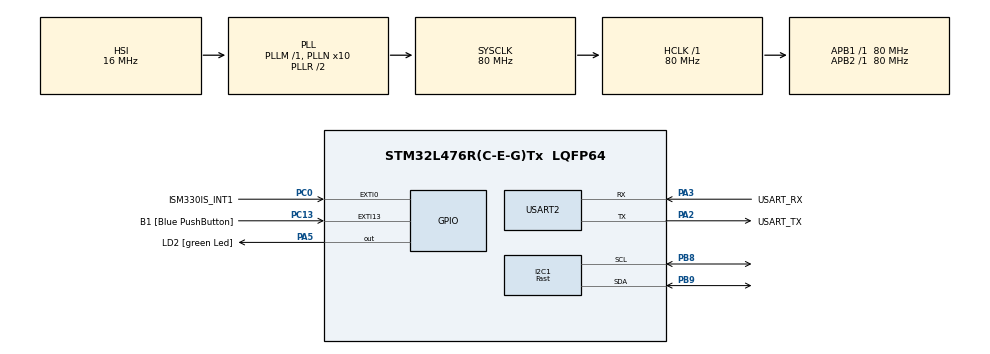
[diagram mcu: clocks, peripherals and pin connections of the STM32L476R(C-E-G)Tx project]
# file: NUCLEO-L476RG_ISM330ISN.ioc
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I2C1.I2C_Speed_Mode=I2C_Fast
I2C1.Timing=0x00702991
Mcu.Family=STM32L4
Mcu.Name=STM32L476R(C-E-G)Tx
Mcu.Package=LQFP64
NVIC.EXTI0_IRQn=true\:0\:0\:false\:false\:true\:true\:true\:true
NVIC.PriorityGroup=NVIC_PRIORITYGROUP_4
PA2.GPIO_Label=USART_TX
PA2.GPIO_Mode=GPIO_MODE_AF_PP
PA2.GPIO_PuPd=GPIO_NOPULL
PA2.GPIO_Speed=GPIO_SPEED_FREQ_VERY_HIGH
PA2.Mode=Asynchronous
PA2.Signal=USART2_TX
PA3.GPIO_Label=USART_RX
PA3.GPIO_Mode=GPIO_MODE_AF_PP
PA3.GPIO_PuPd=GPIO_NOPULL
PA3.GPIO_Speed=GPIO_SPEED_FREQ_VERY_HIGH
PA3.Mode=Asynchronous
PA3.Signal=USART2_RX
PA5.GPIO_Label=LD2 [green Led]
PA5.GPIO_ModeDefaultOutputPP=GPIO_MODE_OUTPUT_PP
PA5.GPIO_PuPd=GPIO_NOPULL
PA5.GPIO_Speed=GPIO_SPEED_FREQ_LOW
PA5.Signal=GPIO_Output
PB8.Mode=I2C
PB8.Signal=I2C1_SCL
PB9.Mode=I2C
PB9.Signal=I2C1_SDA
PC0.GPIO_Label=ISM330IS_INT1
PC0.Signal=GPXTI0
PC13.GPIO_Label=B1 [Blue PushButton]
PC13.GPIO_ModeDefaultEXTI=GPIO_MODE_IT_FALLING
PC13.GPIO_PuPd=GPIO_NOPULL
PC13.Signal=GPXTI13
ProjectManager.HeapSize=0x200
ProjectManager.StackSize=0x400
ProjectManager.TargetToolchain=STM32CubeIDE
RCC.ADCFreq_Value=64000000
RCC.AHBFreq_Value=80000000
RCC.APB1Freq_Value=80000000
RCC.APB1TimFreq_Value=80000000
RCC.APB2Freq_Value=80000000
RCC.APB2TimFreq_Value=80000000
RCC.CortexFreq_Value=80000000
RCC.HCLKFreq_Value=80000000
RCC.HSE_VALUE=8000000
RCC.HSI_VALUE=16000000
RCC.LSE_VALUE=32768
RCC.MSI_VALUE=4000000
RCC.PLLN=10
RCC.PLLSourceVirtual=RCC_PLLSOURCE_HSI
RCC.PREFETCH_ENABLE=1
RCC.SYSCLKFreq_VALUE=80000000
RCC.SYSCLKSource=RCC_SYSCLKSOURCE_PLLCLK
RCC.USBFreq_Value=64000000
RCC.VCOOutputFreq_Value=160000000
USART2.VirtualMode-Asynchronous=VM_ASYNC
board=NUCLEO-L476RG

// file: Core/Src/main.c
/* USER CODE BEGIN Header */
/**
  ******************************************************************************
  * @file           : main.c
  * @brief          : Main program body
  ******************************************************************************
  * @attention
  *
  * Copyright (c) 2023 STMicroelectronics.
  * All rights reserved.
  *
  * This software is licensed under terms that can be found in the LICENSE file
  * in the root directory of this software component.
  * If no LICENSE file comes with this software, it is provided AS-IS.
  *
  ******************************************************************************
  */
/* USER CODE END Header */
#include "main.h"

/* USER CODE BEGIN Includes */
#include <string.h>
#include <stdio.h>
#include "ism330is_reg.h"
#include "cycle_dwt.h"
#include "NanoEdgeAI.h"

/* USER CODE END Includes */

/* USER CODE BEGIN PD */
#ifndef AXIS
  #define AXIS                        3                           /* Axis should be defined between 1 and 3 */
#endif
#ifndef SAMPLES
  #define SAMPLES                     128                         /* Should be between 8 & 256 */
#endif
/************************************************************ Sensors configuration part ************************************************************/
#ifndef ACCELEROMETER_ODR
  #define ACCELEROMETER_ODR           ISM330IS_XL_ODR_AT_833Hz_HP /* Shoud be between ISM330IS_XL_ODR_12Hz5 and ISM330IS_XL_ODR_AT_833Hz_HP */
#endif
#ifndef ACCELEROMETER_FS
  #define ACCELEROMETER_FS            ISM330IS_8g                 /* Should be between ISM330IS_2g and ISM330IS_8g */
#endif
/************************************************************ Datalogger / NEAI mode part ************************************************************/
#ifndef NEAI_MODE
  #define NEAI_MODE                   0                           /* 0: Datalogger mode, 1: NEAI functions mode */
#endif
#if (NEAI_MODE == 1)
  #ifndef NEAI_LEARN_NB
    #define NEAI_LEARN_NB             20                          /* Number of buffers to be learn by the NEAI library */
  #endif
#endif
/************************************************************ Datalogger / NEAI mode part ************************************************************/
/* USER CODE END PD */

I2C_HandleTypeDef hi2c1;

UART_HandleTypeDef huart2;

/* USER CODE BEGIN PV */
static uint8_t whoamI, rst;
static int16_t data_raw_acceleration[3];
uint8_t neai_similarity = 0, neai_state = 0;
volatile uint8_t drdy = 0;
uint16_t neai_cnt = 0, drdy_counter = 0;
float neai_time = 0.0;
static float neai_buffer[AXIS * SAMPLES] = {0.0};
stmdev_ctx_t dev_ctx;

/* USER CODE END PV */

void SystemClock_Config(void);
static void MX_GPIO_Init(void);
static void MX_I2C1_Init(void);
static void MX_USART2_UART_Init(void);
/* USER CODE BEGIN PFP */
static int32_t platform_write(void *handle, uint8_t reg, const uint8_t *bufp, uint16_t len);
static int32_t platform_read(void *handle, uint8_t reg, uint8_t *bufp, uint16_t len);
static void ism330is_initialize(void);
static float ism330is_convert_accel_data_to_mg(int16_t accel_raw_data);
static void iks01a3_i2c_stuck_quirk(void);

/* USER CODE END PFP */

int main(void)
{
  /* USER CODE BEGIN 1 */
  dev_ctx.write_reg = platform_write;
  dev_ctx.read_reg = platform_read;
  dev_ctx.handle = &hi2c1;

  /* USER CODE END 1 */

  /* MCU Configuration--------------------------------------------------------*/

  /* Reset of all peripherals, Initializes the Flash interface and the Systick. */
  HAL_Init();

  /* Configure the system clock */
  SystemClock_Config();

  /* USER CODE BEGIN SysInit */
  iks01a3_i2c_stuck_quirk();
  /* USER CODE END SysInit */

  /* Initialize all configured peripherals */
  MX_GPIO_Init();
  MX_I2C1_Init();
  MX_USART2_UART_Init();
  /* USER CODE BEGIN 2 */
  KIN1_InitCycleCounter();
  KIN1_EnableCycleCounter();
  ism330is_initialize();
  if (NEAI_MODE) {
    neai_state = neai_anomalydetection_init();
    printf("Initialize NEAI library. NEAI init return: %d.\n",  neai_state);
  }
  /* USER CODE END 2 */

  /* Infinite loop */
  /* USER CODE BEGIN WHILE */
  while (1)
  {
    if(drdy) {
      /* Reset data ready condition */
      drdy = 0;
      /* Read acceleration data */
      memset(data_raw_acceleration, 0x00, 3 * sizeof(int16_t));
      ism330is_acceleration_raw_get(&dev_ctx, data_raw_acceleration);
      for (uint8_t i = 0; i < AXIS; i++) {
        neai_buffer[(AXIS * drdy_counter) + i] = ism330is_convert_accel_data_to_mg(data_raw_acceleration[i]);
      }
      drdy_counter++;
      if (drdy_counter >= SAMPLES) {
#if NEAI_MODE
	uint32_t cycles_cnt = 0;
	if (neai_cnt < NEAI_LEARN_NB) {
	  neai_cnt++;
	  KIN1_ResetCycleCounter();
	  neai_state = neai_anomalydetection_learn(neai_buffer);
	  cycles_cnt = KIN1_GetCycleCounter();
	  neai_time = (cycles_cnt * 1000000.0) / HAL_RCC_GetSysClockFreq();
	  printf("Learn: %d / %d. NEAI learn return: %d. Cycles counter: %ld = %.1f µs at %ld Hz.\n",
	    neai_cnt, NEAI_LEARN_NB, neai_state, cycles_cnt, neai_time, HAL_RCC_GetSysClockFreq());
	}
	else {
	  KIN1_ResetCycleCounter();
	  neai_state = neai_anomalydetection_detect(neai_buffer, &neai_similarity);
	  cycles_cnt = KIN1_GetCycleCounter();
	  neai_time = (cycles_cnt * 1000000.0) / HAL_RCC_GetSysClockFreq();
	  printf("Similarity: %d / 100. NEAI detect return: %d. Cycles counter: %ld = %.1f µs at %ld Hz.\n",
	    neai_similarity, neai_state, cycles_cnt, neai_time, HAL_RCC_GetSysClockFreq());
	}
#else
	for (uint16_t i = 0; i < AXIS * SAMPLES; i++) {
	  printf("%.3f ", neai_buffer[i]);
	}
	printf("\n");
#endif
	/* Reset drdy_counter in order to get a new buffer */
	drdy_counter = 0;
	/* Clean neai buffer */
	memset(neai_buffer, 0x00, AXIS * SAMPLES * sizeof(float));
	/* Read acceleration data to flush interrupt */
	memset(data_raw_acceleration, 0x00, 3 * sizeof(int16_t));
	ism330is_acceleration_raw_get(&dev_ctx, data_raw_acceleration);
      }
    }
    /* USER CODE END WHILE */

  }
}

void SystemClock_Config(void)
{
  RCC_OscInitTypeDef RCC_OscInitStruct = {0};
  RCC_ClkInitTypeDef RCC_ClkInitStruct = {0};

  /** Configure the main internal regulator output voltage
  */
  if (HAL_PWREx_ControlVoltageScaling(PWR_REGULATOR_VOLTAGE_SCALE1) != HAL_OK)
  {
    Error_Handler();
  }

  /** Initializes the RCC Oscillators according to the specified parameters
  * in the RCC_OscInitTypeDef structure.
  */
  RCC_OscInitStruct.OscillatorType = RCC_OSCILLATORTYPE_HSI;
  RCC_OscInitStruct.HSIState = RCC_HSI_ON;
  RCC_OscInitStruct.HSICalibrationValue = RCC_HSICALIBRATION_DEFAULT;
  RCC_OscInitStruct.PLL.PLLState = RCC_PLL_ON;
  RCC_OscInitStruct.PLL.PLLSource = RCC_PLLSOURCE_HSI;
  RCC_OscInitStruct.PLL.PLLM = 1;
  RCC_OscInitStruct.PLL.PLLN = 10;
  RCC_OscInitStruct.PLL.PLLP = RCC_PLLP_DIV7;
  RCC_OscInitStruct.PLL.PLLQ = RCC_PLLQ_DIV2;
  RCC_OscInitStruct.PLL.PLLR = RCC_PLLR_DIV2;
  if (HAL_RCC_OscConfig(&RCC_OscInitStruct) != HAL_OK)
  {
    Error_Handler();
  }

  /** Initializes the CPU, AHB and APB buses clocks
  */
  RCC_ClkInitStruct.ClockType = RCC_CLOCKTYPE_HCLK|RCC_CLOCKTYPE_SYSCLK
                              |RCC_CLOCKTYPE_PCLK1|RCC_CLOCKTYPE_PCLK2;
  RCC_ClkInitStruct.SYSCLKSource = RCC_SYSCLKSOURCE_PLLCLK;
  RCC_ClkInitStruct.AHBCLKDivider = RCC_SYSCLK_DIV1;
  RCC_ClkInitStruct.APB1CLKDivider = RCC_HCLK_DIV1;
  RCC_ClkInitStruct.APB2CLKDivider = RCC_HCLK_DIV1;

  if (HAL_RCC_ClockConfig(&RCC_ClkInitStruct, FLASH_LATENCY_4) != HAL_OK)
  {
    Error_Handler();
  }
}

static void MX_I2C1_Init(void)
{

  hi2c1.Instance = I2C1;
  hi2c1.Init.Timing = 0x00702991;
  hi2c1.Init.OwnAddress1 = 0;
  hi2c1.Init.AddressingMode = I2C_ADDRESSINGMODE_7BIT;
  hi2c1.Init.DualAddressMode = I2C_DUALADDRESS_DISABLE;
  hi2c1.Init.OwnAddress2 = 0;
  hi2c1.Init.OwnAddress2Masks = I2C_OA2_NOMASK;
  hi2c1.Init.GeneralCallMode = I2C_GENERALCALL_DISABLE;
  hi2c1.Init.NoStretchMode = I2C_NOSTRETCH_DISABLE;
  if (HAL_I2C_Init(&hi2c1) != HAL_OK)
  {
    Error_Handler();
  }

  /** Configure Analogue filter
  */
  if (HAL_I2CEx_ConfigAnalogFilter(&hi2c1, I2C_ANALOGFILTER_ENABLE) != HAL_OK)
  {
    Error_Handler();
  }

  /** Configure Digital filter
  */
  if (HAL_I2CEx_ConfigDigitalFilter(&hi2c1, 0) != HAL_OK)
  {
    Error_Handler();
  }

}

static void MX_USART2_UART_Init(void)
{

  huart2.Instance = USART2;
  huart2.Init.BaudRate = 115200;
  huart2.Init.WordLength = UART_WORDLENGTH_8B;
  huart2.Init.StopBits = UART_STOPBITS_1;
  huart2.Init.Parity = UART_PARITY_NONE;
  huart2.Init.Mode = UART_MODE_TX_RX;
  huart2.Init.HwFlowCtl = UART_HWCONTROL_NONE;
  huart2.Init.OverSampling = UART_OVERSAMPLING_16;
  huart2.Init.OneBitSampling = UART_ONE_BIT_SAMPLE_DISABLE;
  huart2.AdvancedInit.AdvFeatureInit = UART_ADVFEATURE_NO_INIT;
  if (HAL_UART_Init(&huart2) != HAL_OK)
  {
    Error_Handler();
  }

}

static void MX_GPIO_Init(void)
{
  GPIO_InitTypeDef GPIO_InitStruct = {0};

  /* GPIO Ports Clock Enable */
  __HAL_RCC_GPIOC_CLK_ENABLE();
  __HAL_RCC_GPIOA_CLK_ENABLE();
  __HAL_RCC_GPIOB_CLK_ENABLE();

  /*Configure GPIO pin Output Level */
  HAL_GPIO_WritePin(LD2_GPIO_Port, LD2_Pin, GPIO_PIN_RESET);

  /*Configure GPIO pin : B1_Pin */
  GPIO_InitStruct.Pin = B1_Pin;
  GPIO_InitStruct.Mode = GPIO_MODE_IT_FALLING;
  GPIO_InitStruct.Pull = GPIO_NOPULL;
  HAL_GPIO_Init(B1_GPIO_Port, &GPIO_InitStruct);

  /*Configure GPIO pin : ISM330IS_INT1_Pin */
  GPIO_InitStruct.Pin = ISM330IS_INT1_Pin;
  GPIO_InitStruct.Mode = GPIO_MODE_IT_RISING;
  GPIO_InitStruct.Pull = GPIO_NOPULL;
  HAL_GPIO_Init(ISM330IS_INT1_GPIO_Port, &GPIO_InitStruct);

  /*Configure GPIO pin : LD2_Pin */
  GPIO_InitStruct.Pin = LD2_Pin;
  GPIO_InitStruct.Mode = GPIO_MODE_OUTPUT_PP;
  GPIO_InitStruct.Pull = GPIO_NOPULL;
  GPIO_InitStruct.Speed = GPIO_SPEED_FREQ_LOW;
  HAL_GPIO_Init(LD2_GPIO_Port, &GPIO_InitStruct);

  /* EXTI interrupt init*/
  HAL_NVIC_SetPriority(EXTI0_IRQn, 0, 0);
  HAL_NVIC_EnableIRQ(EXTI0_IRQn);

}

/* USER CODE BEGIN 4 */
/**
  * @brief  Redirecting stdout to USART1 which is connected on the STLINK port
  * @retval
  * @param
  */
int __io_putchar(int ch)
{
 uint8_t c[1];
 c[0] = ch & 0x00FF;
 HAL_UART_Transmit(&huart2, &*c, 1, 10);
 return ch;
}

/**
  * @brief  EXTI line detection callback.
  * @param  GPIO_Pin Specifies the port pin connected to corresponding EXTI line.
  * @retval None
  */
void HAL_GPIO_EXTI_Callback(uint16_t GPIO_Pin)
{
  switch(GPIO_Pin) {
  case ISM330IS_INT1_Pin:
    drdy = 1;
    break;
  }
}

/*
 * @brief  Write generic device register (platform dependent)
 *
 * @param  handle    customizable argument. In this examples is used in
 *                   order to select the correct sensor bus handler.
 * @param  reg       register to write
 * @param  bufp      pointer to data to write in register reg
 * @param  len       number of consecutive register to write
 *
 */
static int32_t platform_write(void *handle, uint8_t reg, const uint8_t *bufp, uint16_t len)
{
  HAL_I2C_Mem_Write(handle, ISM330IS_I2C_ADD_L, reg, I2C_MEMADD_SIZE_8BIT, (uint8_t*) bufp, len, 1000);
  return 0;
}

/*
 * @brief  Read generic device register (platform dependent)
 *
 * @param  handle    customizable argument. In this examples is used in
 *                   order to select the correct sensor bus handler.
 * @param  reg       register to read
 * @param  bufp      pointer to buffer that store the data read
 * @param  len       number of consecutive register to read
 *
 */
static int32_t platform_read(void *handle, uint8_t reg, uint8_t *bufp, uint16_t len)
{
  HAL_I2C_Mem_Read(handle, ISM330IS_I2C_ADD_L, reg, I2C_MEMADD_SIZE_8BIT, bufp, len, 1000);
  return 0;
}

/*
 * @brief  Initialize ISM330IS
 *
 * @param  No
 *
 * @return No
 *
 */
static void ism330is_initialize()
{
  ism330is_pin_int1_route_t val;

  /* Check device ID */
  whoamI = 0;
  do {
    /* Wait sensor boot time */
    HAL_Delay(10);
    ism330is_device_id_get(&dev_ctx, &whoamI);
  } while (whoamI != ISM330IS_ID);

  /* Restore default configuration */
  ism330is_reset_set(&dev_ctx, PROPERTY_ENABLE);

  do {
    ism330is_reset_get(&dev_ctx, &rst);
  } while (rst);

  /* Accelelerometer configuration */
  ism330is_xl_data_rate_set(&dev_ctx, ACCELEROMETER_ODR);
  ism330is_xl_full_scale_set(&dev_ctx, ACCELEROMETER_FS);

  /* Flush interrupt */
  ism330is_acceleration_raw_get(&dev_ctx, data_raw_acceleration);

  /* Configure interrupt on pin int1 */
  ism330is_pin_int1_route_get(&dev_ctx, &val);
  val.drdy_xl = 1;
  ism330is_pin_int1_route_set(&dev_ctx, val);
}

/*
 * @brief  Convert accelerometer raw data to milli-G' (mg)
 *
 * @param  accel_raw_data: which is accelerometer raw data
 *                        depending on the full scale selected
 *
 * @return The converted value in milli-G' (mg)
 *
 */
static float ism330is_convert_accel_data_to_mg(int16_t accel_raw_data)
{
  float accel_data_mg = 0.0;
  switch (ACCELEROMETER_FS)
  {
  case ISM330IS_2g:
    accel_data_mg = ism330is_from_fs2g_to_mg(accel_raw_data);
    break;
  case ISM330IS_4g:
    accel_data_mg = ism330is_from_fs4g_to_mg(accel_raw_data);
    break;
  case ISM330IS_8g:
    accel_data_mg = ism330is_from_fs8g_to_mg(accel_raw_data);
    break;
  case ISM330IS_16g:
    accel_data_mg = ism330is_from_fs16g_to_mg(accel_raw_data);
    break;
  default:
    accel_data_mg = 0.0;
    break;
  }
  return accel_data_mg;
}

/*
 * Pressing the reset button while the sensor is answering to a read request
 * might lead to disaster.
 * In this case the device is stuck, waiting for pulses on SCL to finish the
 * previous transfer.
 * While stuck the sensor keep the SDA low.
 *
 * As a workaround we simply configure the SCL pin as a GPIO and send a burst
 * of pulses to bring the sensor back to an idle state.
 */
static void iks01a3_i2c_stuck_quirk(void)
{
  GPIO_InitTypeDef GPIO_InitStruct = {0};

  /* GPIO Ports Clock Enable */
  __HAL_RCC_GPIOB_CLK_ENABLE();

  /* Configure SCL as a GPIO */
  GPIO_InitStruct.Pin = SCL_PIN;
  GPIO_InitStruct.Mode = GPIO_MODE_OUTPUT_PP;
  GPIO_InitStruct.Pull = GPIO_NOPULL;
  GPIO_InitStruct.Speed = GPIO_SPEED_FREQ_LOW;
  GPIO_InitStruct.Alternate = GPIO_AF4_I2C1;
  HAL_GPIO_Init(SCL_PORT, &GPIO_InitStruct);

  /* Send a burst of pulses on SCL */
  int pulses = 20;
  do {
    HAL_Delay(1);
    HAL_GPIO_WritePin(SCL_PORT, SCL_PIN, GPIO_PIN_RESET);
    HAL_Delay(1);
    HAL_GPIO_WritePin(SCL_PORT, SCL_PIN, GPIO_PIN_SET);
  } while (pulses--);

  /* GPIO Ports Clock Enable */
  __HAL_RCC_GPIOB_CLK_DISABLE();
}

/* USER CODE END 4 */

void Error_Handler(void)
{
  __disable_irq();
  while (1)
  {
  }
}
